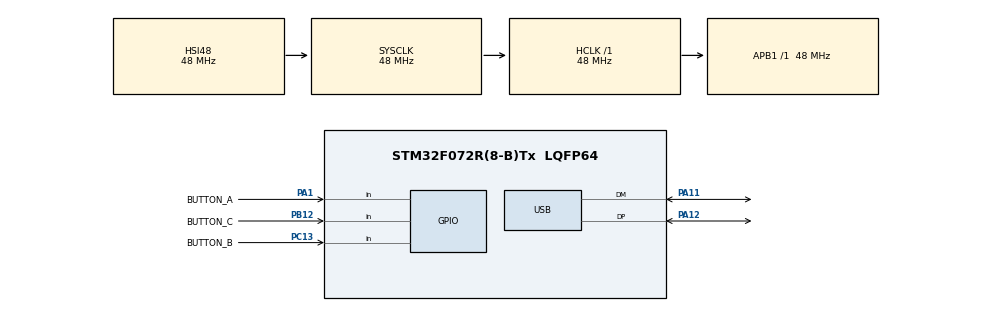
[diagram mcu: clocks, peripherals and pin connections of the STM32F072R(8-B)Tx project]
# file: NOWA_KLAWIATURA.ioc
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Mcu.Family=STM32F0
Mcu.Name=STM32F072R(8-B)Tx
Mcu.Package=LQFP64
NVIC.USB_IRQn=true\:0\:0\:false\:false\:true\:false\:true\:true
PA1.GPIO_Label=BUTTON_A
PA1.Signal=GPIO_Input
PA11.Mode=Device
PA11.Signal=USB_DM
PA12.Mode=Device
PA12.Signal=USB_DP
PB12.GPIO_Label=BUTTON_C
PB12.Signal=GPIO_Input
PC13.GPIO_Label=BUTTON_B
PC13.Signal=GPIO_Input
ProjectManager.HeapSize=0x200
ProjectManager.StackSize=0x400
ProjectManager.TargetToolchain=EWARM V8.32
RCC.AHBFreq_Value=48000000
RCC.APB1Freq_Value=48000000
RCC.APB1TimFreq_Value=48000000
RCC.HCLKFreq_Value=48000000
RCC.SYSCLKFreq_VALUE=48000000
RCC.SYSCLKSource=RCC_SYSCLKSOURCE_HSI48
USB_DEVICE.CLASS_NAME_FS=HID
USB_DEVICE.VirtualMode=Hid
USB_DEVICE.VirtualModeFS=Hid_FS
VP_USB_DEVICE_VS_USB_DEVICE_HID_FS.Mode=HID_FS
board=custom

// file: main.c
/* USER CODE BEGIN Header */
/**
  ******************************************************************************
  * @file           : main.c
  * @brief          : Main program body
  ******************************************************************************
  * @attention
  *
  * Copyright (c) 2023 STMicroelectronics.
  * All rights reserved.
  *
  * This software is licensed under terms that can be found in the LICENSE file
  * in the root directory of this software component.
  * If no LICENSE file comes with this software, it is provided AS-IS.
  *
  ******************************************************************************
  */
/* USER CODE END Header */
#include "main.h"
#include "usb_device.h"

enum ModifiersCodes{
  NO_MOD = 0x00,
  MOD_LCTRL = 0x01,
  MOD_LSHIFT = 0x02,
  MOD_LALT = 0x04,
  MOD_LMETA = 0x08, // key with Windows logo
  MOD_RCTRL = 0x10,
  MOD_RSHIFT = 0x20,
  MOD_RALT = 0x40
};
enum KeyCodes {
  NO_KEY = 0x00,
  KEY_A = 0x04,
  KEY_B = 0x05,
  KEY_C = 0x06,
  KEY_D = 0x07,
  KEY_E = 0x08,
  KEY_F = 0x09,
  KEY_G = 0x0A,
  KEY_H = 0x0B,
  KEY_I = 0x0C,
  KEY_J = 0x0D,
  KEY_K = 0x0E,
  KEY_L = 0x0F,
  KEY_M = 0x10,
  KEY_N = 0x11,
  KEY_O = 0x12,
  KEY_P = 0x13,
  KEY_Q = 0x14,
  KEY_R = 0x15,
  KEY_S = 0x16,
  KEY_T = 0x17,
  KEY_U = 0x18,
  KEY_V = 0x19,
  KEY_W = 0x1A,
  KEY_X = 0x1B,
  KEY_Y = 0x1C,
  KEY_Z = 0x1D,
  KEY_1 = 0x1E, // 1 and !
  KEY_2 = 0x1F, // 2 and @
  KEY_3 = 0x20, // 3 and #
  KEY_4 = 0x21, // 4 and $
  KEY_5 = 0x22, // 5 and %
  KEY_6 = 0x23, // 6 and ^
  KEY_7 = 0x24, // 7 and &
  KEY_8 = 0x25, // 8 and *
  KEY_9 = 0x26, // 9 and (
  KEY_0 = 0x27, // 0 and )
  KEY_ENTER = 0x28,
  KEY_ESC = 0x29,
  KEY_BACKSPACE = 0x2A,
  KEY_TAB = 0x2B,
  KEY_SPACE = 0x2C,
  KEY_MINUS = 0x2D, // - and _
  KEY_EQ = 0x2E, // = and +
  KEY_LBRACE = 0x2F, // [ anf {
  KEY_RBRACE = 0x30, // ] and }
  KEY_BACKSLASH = 0x31, // \ and |
  KEY_SEMICOLON = 0x33, // ; and :
  KEY_APOSTROPHE = 0x34, // ' and "
  KEY_COMMA = 0x36, // , and <
  KEY_DOT = 0x37, // . and >
  KEY_SLASH = 0x38, // / and ?
  KEY_CAPSLOCK = 0x39,
  KEY_SCROLLOCK = 0x47,
  KEY_PAUSE = 0x48,
  KEY_INSERT = 0x49,
  KEY_HOME = 0x4A
};

/* USER CODE BEGIN PV */
int debugInt = 0;
extern USBD_HandleTypeDef hUsbDeviceFS;

typedef struct
{
	uint8_t MODIFIER;  // alt, ctrl etc.
	uint8_t RESERVED;
	uint8_t KEYCODES[6]; // up to 6 keys
}subKeyBoard;

subKeyBoard keyBoardHIDsub;
/* USER CODE END PV */

void SystemClock_Config(void);
static void MX_GPIO_Init(void);
/* USER CODE BEGIN PFP */
static void keyboardHIDsub_Init(void){
  keyBoardHIDsub.MODIFIER = NO_MOD;
  keyBoardHIDsub.RESERVED = 0x00;
  for(int i = 0; i < 6; i++){
      keyBoardHIDsub.KEYCODES[i] = NO_KEY;
  }
}
/* USER CODE END PFP */

int main(void)
{

  /* MCU Configuration--------------------------------------------------------*/

  /* Reset of all peripherals, Initializes the Flash interface and the Systick. */
  HAL_Init();

  /* Configure the system clock */
  SystemClock_Config();

  /* Initialize all configured peripherals */
  MX_GPIO_Init();
  MX_USB_DEVICE_Init();
  /* USER CODE BEGIN 2 */
  keyboardHIDsub_Init();
  int i;
  /* USER CODE END 2 */

  /* Infinite loop */
  /* USER CODE BEGIN WHILE */
  while (1)
  {
    for(i = 0; i < 6; i++){
      keyBoardHIDsub.KEYCODES[i] = NO_KEY; // clear
    }

    i = 0;
    if(HAL_GPIO_ReadPin(BUTTON_A_GPIO_Port, BUTTON_A_Pin) == GPIO_PIN_RESET){
        keyBoardHIDsub.KEYCODES[i]=KEY_A;  // Press A key
        i++;
        debugInt = 4;
    }
    if(HAL_GPIO_ReadPin(BUTTON_B_GPIO_Port, BUTTON_B_Pin) == GPIO_PIN_RESET){
      keyBoardHIDsub.KEYCODES[i]=KEY_B;
      i++;
      debugInt = 5;
    }
    if(HAL_GPIO_ReadPin(BUTTON_C_GPIO_Port, BUTTON_C_Pin) == GPIO_PIN_RESET){
      keyBoardHIDsub.KEYCODES[i]=KEY_C;
      debugInt = 6;
    }
    else{
      debugInt = 8;
    }
    USBD_HID_SendReport(&hUsbDeviceFS,&keyBoardHIDsub,sizeof(keyBoardHIDsub));
    HAL_Delay(50);
    /* USER CODE END WHILE */

  }
}

void SystemClock_Config(void)
{
  RCC_OscInitTypeDef RCC_OscInitStruct = {0};
  RCC_ClkInitTypeDef RCC_ClkInitStruct = {0};
  RCC_PeriphCLKInitTypeDef PeriphClkInit = {0};

  /** Initializes the RCC Oscillators according to the specified parameters
  * in the RCC_OscInitTypeDef structure.
  */
  RCC_OscInitStruct.OscillatorType = RCC_OSCILLATORTYPE_HSI48;
  RCC_OscInitStruct.HSI48State = RCC_HSI48_ON;
  RCC_OscInitStruct.PLL.PLLState = RCC_PLL_NONE;
  if (HAL_RCC_OscConfig(&RCC_OscInitStruct) != HAL_OK)
  {
    Error_Handler();
  }

  /** Initializes the CPU, AHB and APB buses clocks
  */
  RCC_ClkInitStruct.ClockType = RCC_CLOCKTYPE_HCLK|RCC_CLOCKTYPE_SYSCLK
                              |RCC_CLOCKTYPE_PCLK1;
  RCC_ClkInitStruct.SYSCLKSource = RCC_SYSCLKSOURCE_HSI48;
  RCC_ClkInitStruct.AHBCLKDivider = RCC_SYSCLK_DIV1;
  RCC_ClkInitStruct.APB1CLKDivider = RCC_HCLK_DIV1;

  if (HAL_RCC_ClockConfig(&RCC_ClkInitStruct, FLASH_LATENCY_1) != HAL_OK)
  {
    Error_Handler();
  }
  PeriphClkInit.PeriphClockSelection = RCC_PERIPHCLK_USB;
  PeriphClkInit.UsbClockSelection = RCC_USBCLKSOURCE_HSI48;

  if (HAL_RCCEx_PeriphCLKConfig(&PeriphClkInit) != HAL_OK)
  {
    Error_Handler();
  }
}

static void MX_GPIO_Init(void)
{
  GPIO_InitTypeDef GPIO_InitStruct = {0};

  /* GPIO Ports Clock Enable */
  __HAL_RCC_GPIOC_CLK_ENABLE();
  __HAL_RCC_GPIOA_CLK_ENABLE();
  __HAL_RCC_GPIOB_CLK_ENABLE();

  /*Configure GPIO pin : BUTTON_B_Pin */
  GPIO_InitStruct.Pin = BUTTON_B_Pin;
  GPIO_InitStruct.Mode = GPIO_MODE_INPUT;
  GPIO_InitStruct.Pull = GPIO_NOPULL;
  HAL_GPIO_Init(BUTTON_B_GPIO_Port, &GPIO_InitStruct);

  /*Configure GPIO pin : BUTTON_A_Pin */
  GPIO_InitStruct.Pin = BUTTON_A_Pin;
  GPIO_InitStruct.Mode = GPIO_MODE_INPUT;
  GPIO_InitStruct.Pull = GPIO_NOPULL;
  HAL_GPIO_Init(BUTTON_A_GPIO_Port, &GPIO_InitStruct);

  /*Configure GPIO pin : BUTTON_C_Pin */
  GPIO_InitStruct.Pin = BUTTON_C_Pin;
  GPIO_InitStruct.Mode = GPIO_MODE_INPUT;
  GPIO_InitStruct.Pull = GPIO_NOPULL;
  HAL_GPIO_Init(BUTTON_C_GPIO_Port, &GPIO_InitStruct);

}

void Error_Handler(void)
{
  __disable_irq();
  while (1)
  {
  }
}
